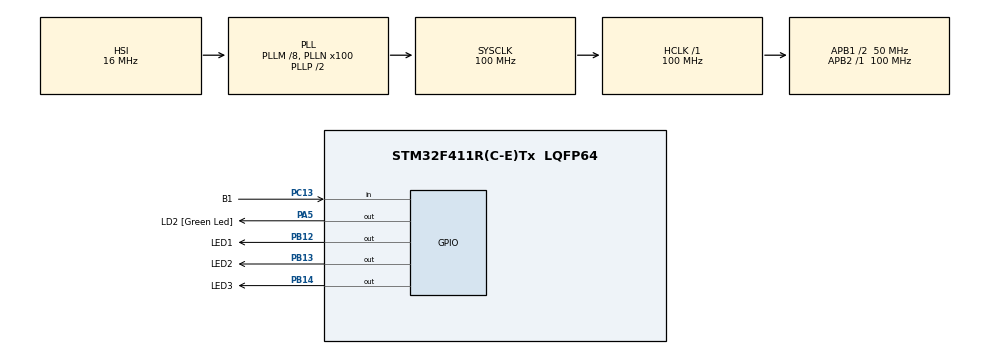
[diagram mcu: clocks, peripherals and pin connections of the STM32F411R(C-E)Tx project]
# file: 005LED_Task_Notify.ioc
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Mcu.Family=STM32F4
Mcu.Name=STM32F411R(C-E)Tx
Mcu.Package=LQFP64
NVIC.PriorityGroup=NVIC_PRIORITYGROUP_4
NVIC.TIM5_IRQn=true\:0\:0\:false\:false\:true\:false\:true
NVIC.TimeBase=TIM5_IRQn
NVIC.TimeBaseIP=TIM5
PA13.GPIO_Label=TMS
PA13.Signal=SYS_JTMS-SWDIO
PA14.GPIO_Label=TCK
PA14.Signal=SYS_JTCK-SWCLK
PA2.GPIO_Label=USART_TX
PA2.Signal=USART2_TX
PA3.GPIO_Label=USART_RX
PA3.Signal=USART2_RX
PA5.GPIO_Label=LD2 [Green Led]
PA5.Signal=GPIO_Output
PB12.GPIO_Label=LED1
PB12.Signal=GPIO_Output
PB13.GPIO_Label=LED2
PB13.Signal=GPIO_Output
PB14.GPIO_Label=LED3
PB14.Signal=GPIO_Output
PB3.GPIO_Label=SWO
PB3.Signal=SYS_JTDO-SWO
PC13-ANTI_TAMP.GPIO_Label=B1
PC13-ANTI_TAMP.Signal=GPIO_Input
PC14-OSC32_IN.Signal=RCC_OSC32_IN
PC15-OSC32_OUT.Signal=RCC_OSC32_OUT
PH0\ -\ OSC_IN.Signal=RCC_OSC_IN
PH1\ -\ OSC_OUT.Signal=RCC_OSC_OUT
ProjectManager.HeapSize=0x200
ProjectManager.StackSize=0x400
ProjectManager.TargetToolchain=STM32CubeIDE
RCC.48MHZClocksFreq_Value=50000000
RCC.AHBFreq_Value=100000000
RCC.APB1CLKDivider=RCC_HCLK_DIV2
RCC.APB1Freq_Value=50000000
RCC.APB1TimFreq_Value=100000000
RCC.APB2Freq_Value=100000000
RCC.APB2TimFreq_Value=100000000
RCC.CortexFreq_Value=100000000
RCC.FLatency-AdvancedSettings=FLASH_LATENCY_3
RCC.HCLKFreq_Value=100000000
RCC.HSE_VALUE=8000000
RCC.HSI_VALUE=16000000
RCC.LSE_VALUE=32768
RCC.PLLM=8
RCC.PLLN=100
RCC.SYSCLKFreq_VALUE=100000000
RCC.SYSCLKSource=RCC_SYSCLKSOURCE_PLLCLK
RCC.VCOOutputFreq_Value=200000000
VP_SYS_VS_tim5.Mode=TIM5
board=NUCLEO-F411RE

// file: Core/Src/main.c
/* USER CODE BEGIN Header */
/**
  ******************************************************************************
  * @file           : main.c
  * @brief          : Main program body
  ******************************************************************************
  * @attention
  *
  * <h2><center>&copy; Copyright (c) 2022 STMicroelectronics.
  * All rights reserved.</center></h2>
  *
  * This software component is licensed by ST under BSD 3-Clause license,
  * the "License"; You may not use this file except in compliance with the
  * License. You may obtain a copy of the License at:
  *                        opensource.org/licenses/BSD-3-Clause
  *
  ******************************************************************************
  */
/* USER CODE END Header */
#include "main.h"

/* USER CODE BEGIN Includes */
#include "FreeRTOS.h"
#include "task.h"

/* USER CODE END Includes */

/* USER CODE BEGIN PV */

#define DWT_CTRL	(*(volatile uint32_t*)0xE0001000)

/* USER CODE END PV */

void SystemClock_Config(void);
static void MX_GPIO_Init(void);
/* USER CODE BEGIN PFP */

static void led1_handler(void* parameters);
static void led2_handler(void* parameters);
static void led3_handler(void* parameters);
static void button_handler(void* parameters);

extern void SEGGER_UART_init(uint32_t);

TaskHandle_t task1_handle;
TaskHandle_t task2_handle;
TaskHandle_t task3_handle;
TaskHandle_t btn_task_handle;

TaskHandle_t volatile next_task_handle = NULL;

/* USER CODE END PFP */

int main(void)
{
  /* USER CODE BEGIN 1 */

	BaseType_t status;

  /* USER CODE END 1 */

  /* MCU Configuration--------------------------------------------------------*/

  /* Reset of all peripherals, Initializes the Flash interface and the Systick. */
  HAL_Init();

  /* Configure the system clock */
  SystemClock_Config();

  /* Initialize all configured peripherals */
  MX_GPIO_Init();
  /* USER CODE BEGIN 2 */

  //SEGGER_UART_init(500000);

  //Cycle count enable
    DWT_CTRL |= (1 << 0);

	SEGGER_SYSVIEW_Conf();
	SEGGER_SYSVIEW_Start();

	status = xTaskCreate(led1_handler, "LED_1_task", 200, NULL, 3, &task1_handle);

	configASSERT(status == pdPASS);

	next_task_handle = task1_handle;

	status = xTaskCreate(led2_handler, "LED_2_task", 200, NULL, 2, &task2_handle);

	configASSERT(status == pdPASS);

	status = xTaskCreate(led3_handler, "LED_3_task", 200, NULL, 1, &task3_handle);

	configASSERT(status == pdPASS);

	status = xTaskCreate(button_handler, "Button Task", 200, NULL, 4, &btn_task_handle);

	configASSERT(status = pdPASS);

	//start the freeRTOS scheduler
	 vTaskStartScheduler();

  /* USER CODE END 2 */

  /* Infinite loop */
  while (1)
  {

  }
}

void SystemClock_Config(void)
{
  RCC_OscInitTypeDef RCC_OscInitStruct = {0};
  RCC_ClkInitTypeDef RCC_ClkInitStruct = {0};

  /** Configure the main internal regulator output voltage
  */
  __HAL_RCC_PWR_CLK_ENABLE();
  __HAL_PWR_VOLTAGESCALING_CONFIG(PWR_REGULATOR_VOLTAGE_SCALE1);
  /** Initializes the RCC Oscillators according to the specified parameters
  * in the RCC_OscInitTypeDef structure.
  */
  RCC_OscInitStruct.OscillatorType = RCC_OSCILLATORTYPE_HSI;
  RCC_OscInitStruct.HSIState = RCC_HSI_ON;
  RCC_OscInitStruct.HSICalibrationValue = RCC_HSICALIBRATION_DEFAULT;
  RCC_OscInitStruct.PLL.PLLState = RCC_PLL_ON;
  RCC_OscInitStruct.PLL.PLLSource = RCC_PLLSOURCE_HSI;
  RCC_OscInitStruct.PLL.PLLM = 8;
  RCC_OscInitStruct.PLL.PLLN = 100;
  RCC_OscInitStruct.PLL.PLLP = RCC_PLLP_DIV2;
  RCC_OscInitStruct.PLL.PLLQ = 4;
  if (HAL_RCC_OscConfig(&RCC_OscInitStruct) != HAL_OK)
  {
    Error_Handler();
  }
  /** Initializes the CPU, AHB and APB buses clocks
  */
  RCC_ClkInitStruct.ClockType = RCC_CLOCKTYPE_HCLK|RCC_CLOCKTYPE_SYSCLK
                              |RCC_CLOCKTYPE_PCLK1|RCC_CLOCKTYPE_PCLK2;
  RCC_ClkInitStruct.SYSCLKSource = RCC_SYSCLKSOURCE_PLLCLK;
  RCC_ClkInitStruct.AHBCLKDivider = RCC_SYSCLK_DIV1;
  RCC_ClkInitStruct.APB1CLKDivider = RCC_HCLK_DIV2;
  RCC_ClkInitStruct.APB2CLKDivider = RCC_HCLK_DIV1;

  if (HAL_RCC_ClockConfig(&RCC_ClkInitStruct, FLASH_LATENCY_3) != HAL_OK)
  {
    Error_Handler();
  }
}

static void MX_GPIO_Init(void)
{
  GPIO_InitTypeDef GPIO_InitStruct = {0};

  /* GPIO Ports Clock Enable */
  __HAL_RCC_GPIOC_CLK_ENABLE();
  __HAL_RCC_GPIOH_CLK_ENABLE();
  __HAL_RCC_GPIOA_CLK_ENABLE();
  __HAL_RCC_GPIOB_CLK_ENABLE();

  /*Configure GPIO pin Output Level */
  HAL_GPIO_WritePin(LD2_GPIO_Port, LD2_Pin, GPIO_PIN_RESET);

  /*Configure GPIO pin Output Level */
  HAL_GPIO_WritePin(GPIOB, LED1_Pin|LED2_Pin|LED3_Pin, GPIO_PIN_RESET);

  /*Configure GPIO pin : B1_Pin */
  GPIO_InitStruct.Pin = B1_Pin;
  GPIO_InitStruct.Mode = GPIO_MODE_IT_FALLING;
  GPIO_InitStruct.Pull = GPIO_NOPULL;
  HAL_GPIO_Init(B1_GPIO_Port, &GPIO_InitStruct);

  /*Configure GPIO pins : USART_TX_Pin USART_RX_Pin */
  GPIO_InitStruct.Pin = USART_TX_Pin|USART_RX_Pin;
  GPIO_InitStruct.Mode = GPIO_MODE_AF_PP;
  GPIO_InitStruct.Pull = GPIO_NOPULL;
  GPIO_InitStruct.Speed = GPIO_SPEED_FREQ_VERY_HIGH;
  GPIO_InitStruct.Alternate = GPIO_AF7_USART2;
  HAL_GPIO_Init(GPIOA, &GPIO_InitStruct);

  /*Configure GPIO pin : LD2_Pin */
  GPIO_InitStruct.Pin = LD2_Pin;
  GPIO_InitStruct.Mode = GPIO_MODE_OUTPUT_PP;
  GPIO_InitStruct.Pull = GPIO_NOPULL;
  GPIO_InitStruct.Speed = GPIO_SPEED_FREQ_LOW;
  HAL_GPIO_Init(LD2_GPIO_Port, &GPIO_InitStruct);

  /*Configure GPIO pins : LED1_Pin LED2_Pin LED3_Pin */
  GPIO_InitStruct.Pin = LED1_Pin|LED2_Pin|LED3_Pin;
  GPIO_InitStruct.Mode = GPIO_MODE_OUTPUT_PP;
  GPIO_InitStruct.Pull = GPIO_NOPULL;
  GPIO_InitStruct.Speed = GPIO_SPEED_FREQ_LOW;
  HAL_GPIO_Init(GPIOB, &GPIO_InitStruct);

}

/* USER CODE BEGIN 4 */

static void led1_handler(void* parameters)
{
	BaseType_t status;
	while(1)
	{
		SEGGER_SYSVIEW_PrintfTarget("Toggling LED1");
		HAL_GPIO_TogglePin(GPIOB, LED1_Pin);
		status = xTaskNotifyWait(0,0,NULL,pdMS_TO_TICKS(1000));
		if(status == pdTRUE)
		{
			vTaskSuspendAll();
			next_task_handle = task2_handle;
			xTaskResumeAll();
			HAL_GPIO_WritePin(GPIOB, LED1_Pin, GPIO_PIN_SET);
			SEGGER_SYSVIEW_PrintfTarget("Deleting Task LED1");
			vTaskDelete(NULL);
		}
	}
}

static void led2_handler(void* parameters)
{
	BaseType_t status;

	while(1)
	{
		SEGGER_SYSVIEW_PrintfTarget("Toggling LED2");
		HAL_GPIO_TogglePin(GPIOB, LED2_Pin);
		status = xTaskNotifyWait(0,0,NULL,pdMS_TO_TICKS(800));
		if(status == pdTRUE)
		{
			vTaskSuspendAll();
			next_task_handle = task3_handle;
			xTaskResumeAll();
			HAL_GPIO_WritePin(GPIOB, LED2_Pin, GPIO_PIN_SET);
			SEGGER_SYSVIEW_PrintfTarget("Deleting Task LED2");
			vTaskDelete(NULL);
		}
	}

}

static void led3_handler(void* parameters)
{
	BaseType_t status;

	while(1)
	{
		SEGGER_SYSVIEW_PrintfTarget("Toggling LED3");
		HAL_GPIO_TogglePin(GPIOB, LED3_Pin);
		status = xTaskNotifyWait(0,0,NULL,pdMS_TO_TICKS(400));
		if(status == pdTRUE)
		{
			vTaskSuspendAll();
			next_task_handle = NULL;
			xTaskResumeAll();
			HAL_GPIO_WritePin(GPIOB, LED3_Pin, GPIO_PIN_SET);
			SEGGER_SYSVIEW_PrintfTarget("Deleting Task LED3");
			vTaskDelete(btn_task_handle);
			vTaskDelete(NULL);

		}
	}

}

static void button_handler(void* parameters)
{
	uint8_t btn_read = 0;
	uint8_t prev_read = 0;

	while(1)
	{
		btn_read = HAL_GPIO_ReadPin(GPIOC, B1_Pin);

		if(!btn_read)
		{
			if(prev_read)
				xTaskNotify(next_task_handle,0,eNoAction);
		}
		prev_read = btn_read;
		vTaskDelay(pdMS_TO_TICKS(10));

	}

}

/* USER CODE END 4 */

void HAL_TIM_PeriodElapsedCallback(TIM_HandleTypeDef *htim)
{
  if (htim->Instance == TIM5) {
    HAL_IncTick();
  }
}

void Error_Handler(void)
{
}

/************************ (C) COPYRIGHT STMicroelectronics *****END OF FILE****/
